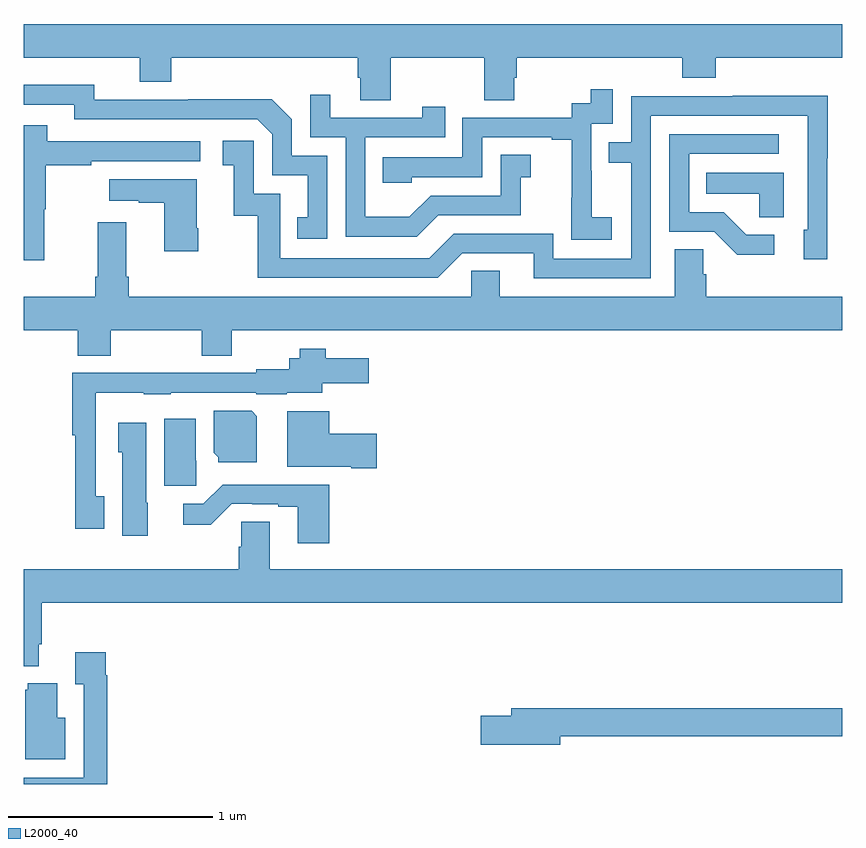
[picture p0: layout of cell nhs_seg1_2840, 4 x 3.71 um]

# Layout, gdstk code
import gdstk
lib = gdstk.Library(unit=1e-6, precision=1e-09)
def P(c, l, *ps):  # polygons
    for p in ps: c.add(gdstk.Polygon(p, *l))
L2000_40 = (2000, 40)

nhs_seg1_2840 = lib.new_cell('nhs_seg1_2840')
P(nhs_seg1_2840, L2000_40, [(266.793,535.748),(267.25,535.748),(267.25,535.54),(267.397,535.54),(267.397,535.65),(267.41,535.65),(267.41,535.748),(268.217,535.748),(268.217,535.649),(268.382,535.649),(268.382,535.748),(269,535.748),(269,535.912),(265,535.912),(265,535.748),(265.568,535.748),(265.568,535.631),(265.721,535.631),(265.721,535.748),(266.633,535.748),(266.633,535.65),(266.645,535.65),(266.645,535.54),(266.793,535.54)],
  [(266.484,535.269),(266.31,535.269),(266.31,535.446),(266.212,535.544),(265.804,535.544),(265.804,535.542),(265.344,535.542),(265.344,535.615),(265,535.615),(265,535.518),(265.248,535.518),(265.248,535.446),(266.142,535.446),(266.214,535.374),(266.214,535.173),(266.387,535.173),(266.387,534.969),(266.338,534.969),(266.338,534.864),(266.484,534.864)],
  [(267.874,534.967),(267.776,534.967),(267.776,535.196),(267.774,535.196),(267.774,535.425),(267.879,535.425),(267.879,535.594),(267.771,535.594),(267.771,535.524),(267.678,535.524),(267.678,535.455),(267.144,535.455),(267.144,535.26),(266.755,535.26),(266.755,535.137),(266.895,535.137),(266.895,535.164),(267.24,535.164),(267.24,535.359),(267.581,535.359),(267.581,535.347),(267.677,535.347),(267.677,535.063),(267.676,535.063),(267.676,534.857),(267.874,534.857)],
  [(267.025,534.978),(267.429,534.978),(267.429,535.163),(267.478,535.163),(267.478,535.273),(267.33,535.273),(267.33,535.074),(266.988,535.074),(266.884,534.97),(266.67,534.97),(266.67,535.359),(267.059,535.359),(267.059,535.507),(266.948,535.507),(266.948,535.455),(266.497,535.455),(266.497,535.567),(266.4,535.567),(266.4,535.359),(266.574,535.359),(266.574,534.873),(266.92,534.873)],
  [(268.065,535.464),(268.83,535.464),(268.83,534.906),(268.811,534.906),(268.811,534.762),(268.926,534.762),(268.926,535.255),(268.929,535.255),(268.929,535.562),(268.465,535.562),(268.465,535.56),(267.969,535.56),(267.969,535.335),(267.859,535.335),(267.859,535.234),(267.969,535.234),(267.969,534.765),(267.588,534.765),(267.588,534.888),(267.102,534.888),(266.982,534.768),(266.253,534.768),(266.253,535.083),(266.124,535.083),(266.124,535.342),(265.974,535.342),(265.974,535.221),(266.027,535.221),(266.027,534.975),(266.145,534.975),(266.145,534.672),(267.024,534.672),(267.144,534.792),(267.491,534.792),(267.491,534.669),(268.065,534.669)],
  [(265.1,535.008),(265.108,535.008),(265.108,535.222),(265.331,535.222),(265.331,535.242),(265.864,535.242),(265.864,535.338),(265.115,535.338),(265.115,535.417),(265,535.417),(265,534.759),(265.1,534.759)],
  [(268.666,534.882),(268.531,534.882),(268.42,534.993),(268.251,534.993),(268.251,535.278),(268.69,535.278),(268.69,535.374),(268.155,535.374),(268.155,534.897),(268.374,534.897),(268.487,534.785),(268.666,534.785)],
  [(268.714,535.186),(268.336,535.186),(268.336,535.082),(268.593,535.082),(268.593,534.967),(268.714,534.967)],
  [(265.854,534.913),(265.846,534.913),(265.846,535.153),(265.419,535.153),(265.419,535.049),(265.562,535.049),(265.562,535.039),(265.688,535.039),(265.688,534.801),(265.854,534.801)],
  [(265.425,534.416),(265.87,534.416),(265.87,534.292),(266.017,534.292),(266.017,534.416),(269,534.416),(269,534.58),(268.334,534.58),(268.334,534.689),(268.32,534.689),(268.32,534.812),(268.181,534.812),(268.181,534.58),(267.325,534.58),(267.325,534.707),(267.186,534.707),(267.186,534.58),(265.514,534.58),(265.514,534.676),(265.501,534.676),(265.501,534.943),(265.361,534.943),(265.361,534.676),(265.349,534.676),(265.349,534.58),(265,534.58),(265,534.416),(265.265,534.416),(265.265,534.292),(265.425,534.292)],
  [(265.393,533.606),(265.353,533.606),(265.353,534.11),(265.587,534.11),(265.587,534.104),(265.719,534.104),(265.719,534.111),(266.136,534.111),(266.136,534.104),(266.286,534.104),(266.286,534.11),(266.458,534.11),(266.458,534.158),(266.686,534.158),(266.686,534.28),(266.477,534.28),(266.477,534.325),(266.349,534.325),(266.349,534.28),(266.297,534.28),(266.297,534.226),(266.136,534.226),(266.136,534.207),(265.719,534.207),(265.719,534.209),(265.487,534.209),(265.487,534.207),(265.237,534.207),(265.237,533.904),(265.252,533.904),(265.252,533.445),(265.393,533.445)],
  [(266.14,533.996),(266.114,534.022),(265.928,534.022),(265.928,533.818),(265.95,533.796),(265.95,533.771),(266.14,533.771)],
  [(266.725,533.911),(266.494,533.911),(266.494,534.02),(266.288,534.02),(266.288,533.75),(266.601,533.75),(266.601,533.741),(266.725,533.741)],
  [(265.844,533.778),(265.84,533.778),(265.84,533.983),(265.688,533.983),(265.688,533.655),(265.844,533.655)],
  [(265.606,533.574),(265.6,533.574),(265.6,533.965),(265.463,533.965),(265.463,533.82),(265.481,533.82),(265.481,533.412),(265.606,533.412)],
  [(266.492,533.662),(265.972,533.662),(265.878,533.568),(265.779,533.568),(265.779,533.466),(265.914,533.466),(266.016,533.568),(266.116,533.568),(266.116,533.565),(266.243,533.565),(266.243,533.553),(266.339,533.553),(266.339,533.376),(266.492,533.376)],
  [(265.075,532.882),(265.088,532.882),(265.088,533.084),(269,533.084),(269,533.248),(266.203,533.248),(266.203,533.48),(266.064,533.48),(266.064,533.358),(266.051,533.358),(266.051,533.248),(265,533.248),(265,532.775),(265.075,532.775)],
  [(265.409,532.73),(265.402,532.73),(265.402,532.843),(265.253,532.843),(265.253,532.687),(265.293,532.687),(265.293,532.23),(265,532.23),(265,532.199),(265.409,532.199)],
  [(265.204,532.522),(265.165,532.522),(265.165,532.69),(265.019,532.69),(265.019,532.659),(265.007,532.659),(265.007,532.319),(265.204,532.319)],
  [(267.622,532.432),(269,532.432),(269,532.568),(267.383,532.568),(267.383,532.532),(267.234,532.532),(267.234,532.39),(267.622,532.39)])

lib.write_gds('nhs_seg1_2840.gds')
